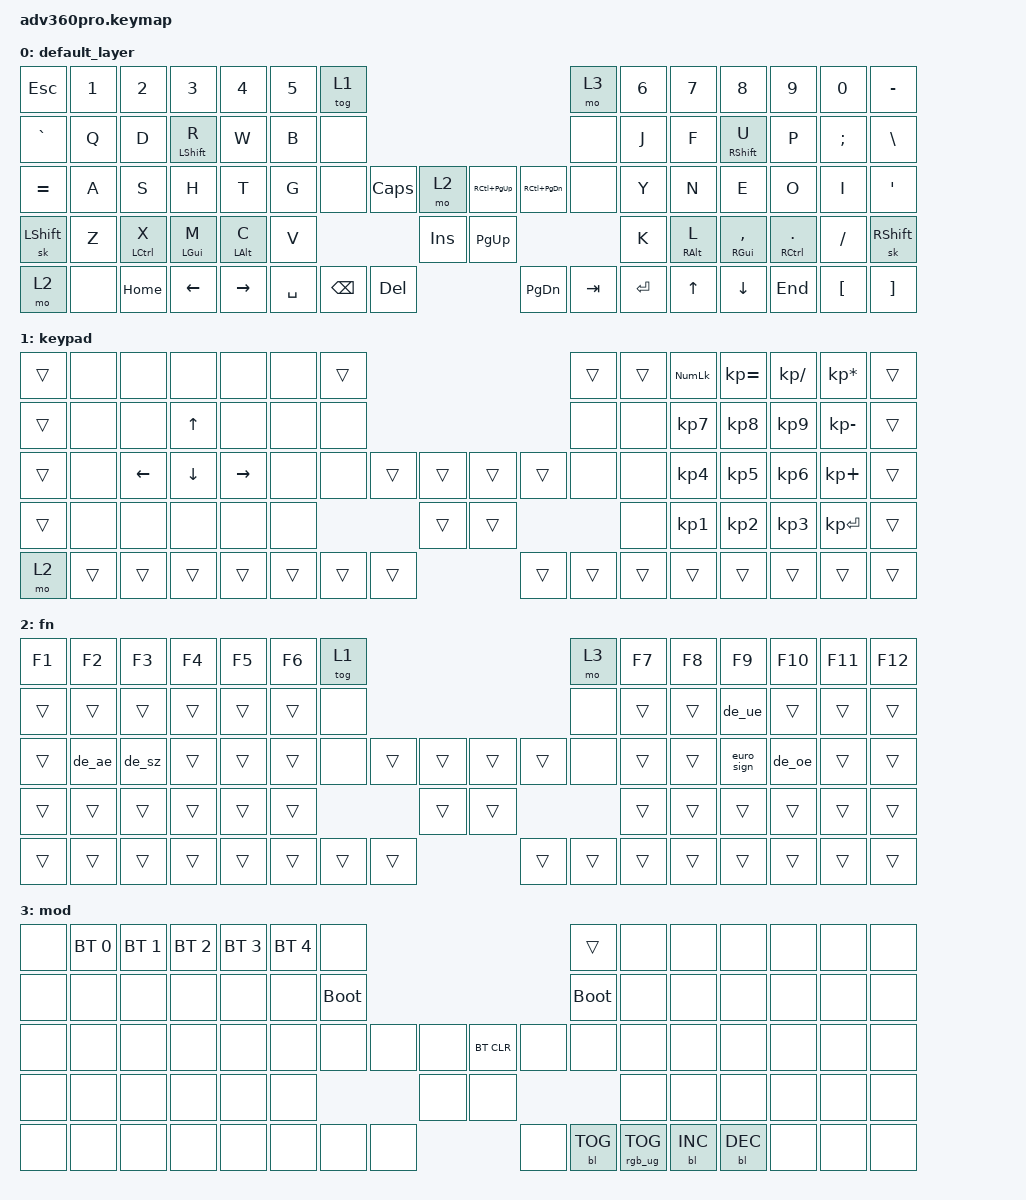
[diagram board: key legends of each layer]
#include <behaviors.dtsi>
#include <dt-bindings/zmk/keys.h>
#include <dt-bindings/zmk/outputs.h>
#include <dt-bindings/zmk/bt.h>
#include <dt-bindings/zmk/rgb.h>
#include <dt-bindings/zmk/backlight.h>

#define ZMK_HELPER_STRINGIFY(x) #x

#define OS_UNICODE_LEAD &macro_tap &kp LS(LC(U))   // Linux
#define OS_UNICODE_TRAIL &macro_tap &kp SPACE     // Linux

#define UC_MACRO(name, unicode_bindings) \
            name: name { \
                compatible = "zmk,behavior-macro"; \
                label = ZMK_HELPER_STRINGIFY(UC_MACRO_ ## name); \
                wait-ms = <0>; \
                tap-ms = <0>; \
                #binding-cells = <0>; \
                bindings = <OS_UNICODE_LEAD>, <&macro_tap unicode_bindings>, <OS_UNICODE_TRAIL>; \
            };

#define UC_MODMORPH(name, uc_binding, shifted_uc_binding) \
            name: name { \
                compatible = "zmk,behavior-mod-morph"; \
                label = ZMK_HELPER_STRINGIFY(UC_MORPH_ ## name); \
                #binding-cells = <0>; \
                bindings = <uc_binding>, <shifted_uc_binding>; \
                mods = <(MOD_LSFT|MOD_RSFT)>; \
            };

#define ZMK_UNICODE_SINGLE_M(name, L0, L1, L2, L3) \
    UC_MACRO(name ## _lower, &kp L0 &kp L1 &kp L2 &kp L3)

#define ZMK_UNICODE_SINGLE_B(name, L0, L1, L2, L3) \
    UC_MODMORPH(name, &name ## _lower, &none)

#define ZMK_UNICODE_PAIR_M(name, L0, L1, L2, L3, U0, U1, U2, U3) \
    UC_MACRO(name ## _lower, &kp L0 &kp L1 &kp L2 &kp L3) \
    UC_MACRO(name ## _upper, &kp U0 &kp U1 &kp U2 &kp U3)

#define ZMK_UNICODE_PAIR_B(name, L0, L1, L2, L3, U0, U1, U2, U3) \
    UC_MODMORPH(name, &name ## _lower, &name ## _upper)


/ {

    behaviors {
        ht: hold_tap {
            compatible = "zmk,behavior-hold-tap";
            label = "HOLD_TAP";
            #binding-cells = <2>;
            flavor = "balanced";
            tapping-term-ms = <177>;
            quick-tap-ms = <200>;
            bindings = <&kp>, <&kp>;
        };
        ZMK_UNICODE_SINGLE_B(de_sz, N0, N0, D, F)
        //                name     unshifted         shifted
        ZMK_UNICODE_PAIR_B(euro_sign, N2, N0, A, C,    N0, N0,  N2, N4 )
        ZMK_UNICODE_PAIR_B( de_ae,   N0, N0,  E, N4,   N0, N0,  C,  N4 )
        ZMK_UNICODE_PAIR_B( de_oe,   N0, N0,  F, N6,   N0, N0,  D,  N6 )
        ZMK_UNICODE_PAIR_B( de_ue,   N0, N0,  F,  C,   N0, N0,  D,  C  )
    };

	macros {
        ZMK_UNICODE_SINGLE_M(de_sz, N0, N0, D, F)
        //                name     unshifted         shifted
        ZMK_UNICODE_PAIR_M(euro_sign, N2, N0, A, C,    N0, N0,  N2, N4 )
        ZMK_UNICODE_PAIR_M( de_ae,   N0, N0,  E, N4,   N0, N0,  C,  N4 )
        ZMK_UNICODE_PAIR_M( de_oe,   N0, N0,  F, N6,   N0, N0,  D,  N6 )
        ZMK_UNICODE_PAIR_M( de_ue,   N0, N0,  F,  C,   N0, N0,  D,  C  )
	};

    keymap {
        compatible = "zmk,keymap";

        default_layer {
            bindings = <
                &kp ESC   &kp N1    &kp N2      &kp N3      &kp N4     &kp N5 &tog 1                                                           &mo 3 &kp N6 &kp N7     &kp N8         &kp N9        &kp N0   &kp MINUS
                &kp GRAVE &kp Q     &kp D       &ht LSHFT R &kp W      &kp B  &none                                                            &none &kp J  &kp F      &ht RSHFT U    &kp P         &kp SEMI &kp BSLH
                &kp EQUAL &kp A     &kp S       &kp H       &kp T      &kp G  &none            &kp CAPS &mo 2      &kp RC(PG_UP) &kp RC(PG_DN) &none &kp Y  &kp N      &kp E          &kp O         &kp I    &kp SQT
                &sk LSHFT &kp Z     &ht LCTRL X &ht LGUI M  &ht LALT C &kp V                            &kp INSERT &kp PG_UP                         &kp K  &ht RALT L &ht RGUI COMMA &ht RCTRL DOT &kp FSLH &sk RSHFT
                &mo 2     &none     &kp HOME    &kp LEFT    &kp RIGHT                &kp SPACE &kp BSPC &kp DELETE &kp PG_DN &kp TAB &kp ENTER              &kp UP     &kp DOWN       &kp END       &kp LBKT &kp RBKT
            >;
        };
        keypad {
            bindings = <
                &trans &none  &none    &none    &none      &none  &trans                                           &trans &trans &kp KP_NUM &kp KP_EQUAL &kp KP_DIVIDE &kp KP_MULTIPLY &trans
                &trans &none  &none    &kp UP   &none      &none  &none                                            &none  &none  &kp KP_N7  &kp KP_N8    &kp KP_N9     &kp KP_MINUS    &trans
                &trans &none  &kp LEFT &kp DOWN &kp RIGHT  &none  &none         &trans &trans &trans  &trans       &none  &none  &kp KP_N4  &kp KP_N5    &kp KP_N6     &kp KP_PLUS     &trans
                &trans &none  &none    &none    &none      &none                       &trans &trans                      &none  &kp KP_N1  &kp KP_N2    &kp KP_N3     &kp KP_ENTER    &trans
                &mo 2  &trans &trans   &trans   &trans                   &trans &trans &trans &trans &trans &trans               &trans     &trans       &trans        &trans          &trans
            >;
        };
        fn {
            bindings = <
                &kp F1 &kp F2 &kp F3 &kp F4 &kp F5 &kp F6 &tog 1                                           &mo 3 &kp F7 &kp F8 &kp F9     &kp F10 &kp F11 &kp F12
                &trans &trans &trans &trans &trans &trans  &none                                           &none &trans &trans &de_ue     &trans  &trans  &trans
                &trans &de_ae &de_sz &trans &trans &trans  &none        &trans &trans &trans &trans        &none &trans &trans &euro_sign &de_oe  &trans  &trans
                &trans &trans &trans &trans &trans &trans                      &trans &trans                     &trans &trans &trans     &trans  &trans  &trans
                &trans &trans &trans &trans &trans               &trans &trans &trans &trans &trans &trans              &trans &trans     &trans  &trans  &trans
            >;
        };
        mod {
            bindings = <
                &none &bt BT_SEL 0 &bt BT_SEL 1 &bt BT_SEL 2 &bt BT_SEL 3 &bt BT_SEL 4 &none                                                               &trans      &none &none      &none      &none &none &none
                &none &none        &none        &none        &none        &none        &bootloader                                                         &bootloader &none &none      &none      &none &none &none
                &none &none        &none        &none        &none        &none        &none             &none &none &bt BT_CLR &none                      &none       &none &none      &none      &none &none &none
                &none &none        &none        &none        &none        &none                                &none &none                                             &none &none      &none      &none &none &none
                &none &none        &none        &none        &none                                 &none &none &none &none      &bl BL_TOG &rgb_ug RGB_TOG                   &bl BL_INC &bl BL_DEC &none &none &none
            >;
        };
    };
};
